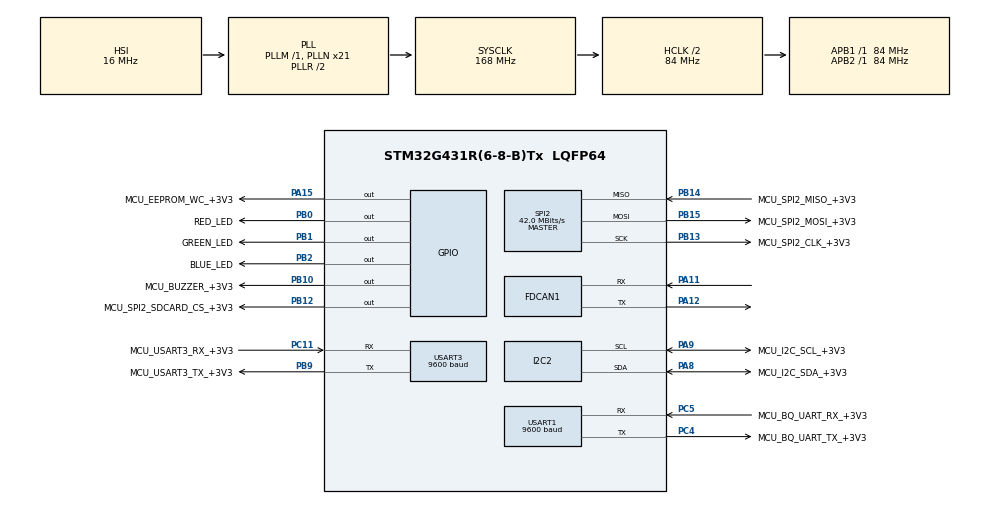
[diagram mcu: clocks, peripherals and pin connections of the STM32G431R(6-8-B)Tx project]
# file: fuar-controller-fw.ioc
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Dma.Request0=USART3_RX
Dma.Request1=USART3_TX
Dma.Request2=USART1_RX
Dma.USART1_RX.2.Direction=DMA_PERIPH_TO_MEMORY
Dma.USART1_RX.2.EventEnable=DISABLE
Dma.USART1_RX.2.Instance=DMA1_Channel3
Dma.USART1_RX.2.MemDataAlignment=DMA_MDATAALIGN_BYTE
Dma.USART1_RX.2.MemInc=DMA_MINC_ENABLE
Dma.USART1_RX.2.Mode=DMA_NORMAL
Dma.USART1_RX.2.PeriphDataAlignment=DMA_PDATAALIGN_BYTE
Dma.USART1_RX.2.PeriphInc=DMA_PINC_DISABLE
Dma.USART1_RX.2.Polarity=HAL_DMAMUX_REQ_GEN_RISING
Dma.USART1_RX.2.Priority=DMA_PRIORITY_LOW
Dma.USART1_RX.2.RequestNumber=1
Dma.USART1_RX.2.SignalID=NONE
Dma.USART1_RX.2.SyncEnable=DISABLE
Dma.USART1_RX.2.SyncPolarity=HAL_DMAMUX_SYNC_NO_EVENT
Dma.USART1_RX.2.SyncRequestNumber=1
Dma.USART1_RX.2.SyncSignalID=NONE
Dma.USART3_RX.0.Direction=DMA_PERIPH_TO_MEMORY
Dma.USART3_RX.0.EventEnable=DISABLE
Dma.USART3_RX.0.Instance=DMA1_Channel1
Dma.USART3_RX.0.MemDataAlignment=DMA_MDATAALIGN_BYTE
Dma.USART3_RX.0.MemInc=DMA_MINC_ENABLE
Dma.USART3_RX.0.Mode=DMA_NORMAL
Dma.USART3_RX.0.PeriphDataAlignment=DMA_PDATAALIGN_BYTE
Dma.USART3_RX.0.PeriphInc=DMA_PINC_DISABLE
Dma.USART3_RX.0.Polarity=HAL_DMAMUX_REQ_GEN_RISING
Dma.USART3_RX.0.Priority=DMA_PRIORITY_MEDIUM
Dma.USART3_RX.0.RequestNumber=1
Dma.USART3_RX.0.SignalID=NONE
Dma.USART3_RX.0.SyncEnable=DISABLE
Dma.USART3_RX.0.SyncPolarity=HAL_DMAMUX_SYNC_NO_EVENT
Dma.USART3_RX.0.SyncRequestNumber=1
Dma.USART3_RX.0.SyncSignalID=NONE
Dma.USART3_TX.1.Direction=DMA_MEMORY_TO_PERIPH
Dma.USART3_TX.1.EventEnable=DISABLE
Dma.USART3_TX.1.Instance=DMA1_Channel2
Dma.USART3_TX.1.MemDataAlignment=DMA_MDATAALIGN_BYTE
Dma.USART3_TX.1.MemInc=DMA_MINC_ENABLE
Dma.USART3_TX.1.Mode=DMA_NORMAL
Dma.USART3_TX.1.PeriphDataAlignment=DMA_PDATAALIGN_BYTE
Dma.USART3_TX.1.PeriphInc=DMA_PINC_DISABLE
Dma.USART3_TX.1.Polarity=HAL_DMAMUX_REQ_GEN_RISING
Dma.USART3_TX.1.Priority=DMA_PRIORITY_MEDIUM
Dma.USART3_TX.1.RequestNumber=1
Dma.USART3_TX.1.SignalID=NONE
Dma.USART3_TX.1.SyncEnable=DISABLE
Dma.USART3_TX.1.SyncPolarity=HAL_DMAMUX_SYNC_NO_EVENT
Dma.USART3_TX.1.SyncRequestNumber=1
Dma.USART3_TX.1.SyncSignalID=NONE
FDCAN1.CalculateBaudRateNominal=1000000
FDCAN1.CalculateTimeBitNominal=1000
FDCAN1.CalculateTimeQuantumNominal=142.85714285714286
FDCAN1.DataTimeSeg1=1
FDCAN1.NominalPrescaler=12
FDCAN1.NominalTimeSeg1=3
FDCAN1.NominalTimeSeg2=3
I2C2.Timing=0x20916F9D
Mcu.Family=STM32G4
Mcu.Name=STM32G431R(6-8-B)Tx
Mcu.Package=LQFP64
NVIC.DMA1_Channel1_IRQn=true\:0\:0\:false\:false\:true\:false\:true\:true
NVIC.DMA1_Channel2_IRQn=true\:0\:0\:false\:false\:true\:false\:true\:true
NVIC.DMA1_Channel3_IRQn=true\:0\:0\:false\:false\:true\:false\:true\:true
NVIC.FDCAN1_IT1_IRQn=true\:0\:0\:false\:false\:true\:true\:true\:true
NVIC.PriorityGroup=NVIC_PRIORITYGROUP_4
NVIC.TIM2_IRQn=true\:0\:0\:false\:false\:true\:true\:true\:true
NVIC.USART1_IRQn=true\:0\:0\:false\:false\:true\:true\:true\:true
NVIC.USART3_IRQn=true\:0\:0\:false\:false\:true\:true\:true\:true
PA11.Mode=FDCAN_Activate
PA11.Signal=FDCAN1_RX
PA12.Mode=FDCAN_Activate
PA12.Signal=FDCAN1_TX
PA13.GPIO_Label=MCU_SWDIO_+3V3
PA13.Mode=Serial_Wire
PA13.Signal=SYS_JTMS-SWDIO
PA14.GPIO_Label=MCU_SWCLK_+3V3
PA14.Mode=Serial_Wire
PA14.Signal=SYS_JTCK-SWCLK
PA15.GPIO_Label=MCU_EEPROM_WC_+3V3
PA15.Signal=GPIO_Output
PA8.GPIO_Label=MCU_I2C_SDA_+3V3
PA8.Mode=I2C
PA8.Signal=I2C2_SDA
PA9.GPIO_Label=MCU_I2C_SCL_+3V3
PA9.Mode=I2C
PA9.Signal=I2C2_SCL
PB0.GPIO_Label=RED_LED
PB0.Signal=GPIO_Output
PB1.GPIO_Label=GREEN_LED
PB1.Signal=GPIO_Output
PB10.GPIO_Label=MCU_BUZZER_+3V3
PB10.Signal=GPIO_Output
PB12.GPIO_Label=MCU_SPI2_SDCARD_CS_+3V3
PB12.Signal=GPIO_Output
PB13.GPIO_Label=MCU_SPI2_CLK_+3V3
PB13.Mode=Full_Duplex_Master
PB13.Signal=SPI2_SCK
PB14.GPIO_Label=MCU_SPI2_MISO_+3V3
PB14.Mode=Full_Duplex_Master
PB14.Signal=SPI2_MISO
PB15.GPIO_Label=MCU_SPI2_MOSI_+3V3
PB15.Mode=Full_Duplex_Master
PB15.Signal=SPI2_MOSI
PB2.GPIO_Label=BLUE_LED
PB2.Signal=GPIO_Output
PB9.GPIO_Label=MCU_USART3_TX_+3V3
PB9.Mode=Asynchronous
PB9.Signal=USART3_TX
PC11.GPIO_Label=MCU_USART3_RX_+3V3
PC11.Mode=Asynchronous
PC11.Signal=USART3_RX
PC14-OSC32_IN.Mode=LSE-External-Oscillator
PC14-OSC32_IN.Signal=RCC_OSC32_IN
PC15-OSC32_OUT.Mode=LSE-External-Oscillator
PC15-OSC32_OUT.Signal=RCC_OSC32_OUT
PC4.GPIO_Label=MCU_BQ_UART_TX_+3V3
PC4.Mode=Asynchronous
PC4.Signal=USART1_TX
PC5.GPIO_Label=MCU_BQ_UART_RX_+3V3
PC5.Mode=Asynchronous
PC5.Signal=USART1_RX
ProjectManager.HeapSize=0x200
ProjectManager.StackSize=0x400
ProjectManager.TargetToolchain=Makefile
RCC.ADC12Freq_Value=168000000
RCC.AHBCLKDivider=RCC_SYSCLK_DIV2
RCC.AHBFreq_Value=84000000
RCC.APB1Freq_Value=84000000
RCC.APB1TimFreq_Value=84000000
RCC.APB2Freq_Value=84000000
RCC.APB2TimFreq_Value=84000000
RCC.CortexFreq_Value=84000000
RCC.EXTERNAL_CLOCK_VALUE=12288000
RCC.HCLKFreq_Value=84000000
RCC.HSE_VALUE=8000000
RCC.HSI48_VALUE=48000000
RCC.HSI_VALUE=16000000
RCC.PLLN=21
RCC.SYSCLKFreq_VALUE=168000000
RCC.SYSCLKSource=RCC_SYSCLKSOURCE_PLLCLK
RCC.USBFreq_Value=168000000
RCC.VCOOutputFreq_Value=336000000
SPI2.BaudRatePrescaler=SPI_BAUDRATEPRESCALER_2
SPI2.CalculateBaudRate=42.0 MBits/s
SPI2.Direction=SPI_DIRECTION_2LINES
SPI2.Mode=SPI_MODE_MASTER
SPI2.VirtualType=VM_MASTER
TIM2.PeriodNoDither=1000
TIM2.Prescaler=42000
USART1.BaudRate=9600
USART1.VirtualMode-Asynchronous=VM_ASYNC
USART3.BaudRate=9600
USART3.VirtualMode-Asynchronous=VM_ASYNC
VP_SYS_VS_DBSignals.Mode=DisableDeadBatterySignals
VP_TIM2_VS_ClockSourceINT.Mode=Internal
board=custom

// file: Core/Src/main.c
/* USER CODE BEGIN Header */
/**
  ******************************************************************************
  * @file           : main.c
  * @brief          : Main program body
  ******************************************************************************
  * @attention
  *
  * Copyright (c) 2024 STMicroelectronics.
  * All rights reserved.
  *
  * This software is licensed under terms that can be found in the LICENSE file
  * in the root directory of this software component.
  * If no LICENSE file comes with this software, it is provided AS-IS.
  *
  ******************************************************************************
  */
/* USER CODE END Header */
#include "main.h"

/* USER CODE BEGIN Includes */
#include "process.h"
#include "canbus_com.h"
/* USER CODE END Includes */

FDCAN_HandleTypeDef hfdcan1;

I2C_HandleTypeDef hi2c2;

SPI_HandleTypeDef hspi2;

TIM_HandleTypeDef htim2;

UART_HandleTypeDef huart1;
UART_HandleTypeDef huart3;
DMA_HandleTypeDef hdma_usart1_rx;
DMA_HandleTypeDef hdma_usart3_rx;
DMA_HandleTypeDef hdma_usart3_tx;

void SystemClock_Config(void);
static void MX_GPIO_Init(void);
static void MX_DMA_Init(void);
static void MX_FDCAN1_Init(void);
static void MX_I2C2_Init(void);
static void MX_SPI2_Init(void);
static void MX_USART1_UART_Init(void);
static void MX_USART3_UART_Init(void);
static void MX_TIM2_Init(void);

int main(void)
{

  /* MCU Configuration--------------------------------------------------------*/

  /* Reset of all peripherals, Initializes the Flash interface and the Systick. */
  HAL_Init();

  /* Configure the system clock */
  SystemClock_Config();

  /* Initialize all configured peripherals */
  MX_GPIO_Init();
  MX_DMA_Init();
  MX_FDCAN1_Init();
  MX_I2C2_Init();
  MX_SPI2_Init();
  MX_USART1_UART_Init();
  MX_USART3_UART_Init();
  MX_TIM2_Init();
  /* USER CODE BEGIN 2 */
  serial_message("code worked");
  HAL_GPIO_WritePin(RED_LED_GPIO_Port,RED_LED_Pin,GPIO_PIN_SET);
  HAL_Delay(1000);
  HAL_GPIO_WritePin(RED_LED_GPIO_Port,RED_LED_Pin,GPIO_PIN_RESET);

  UartDmaInit();
  delay_init();
  // process_INIT();
  /* USER CODE END 2 */

  /* Infinite loop */
  while (1)
  {

    /* USER CODE BEGIN 3 */
    Process_Nextion();
    Prosess_PacketComminication();
  }
  /* USER CODE END 3 */
}

void SystemClock_Config(void)
{
  RCC_OscInitTypeDef RCC_OscInitStruct = {0};
  RCC_ClkInitTypeDef RCC_ClkInitStruct = {0};

  /** Configure the main internal regulator output voltage
  */
  HAL_PWREx_ControlVoltageScaling(PWR_REGULATOR_VOLTAGE_SCALE1);

  /** Initializes the RCC Oscillators according to the specified parameters
  * in the RCC_OscInitTypeDef structure.
  */
  RCC_OscInitStruct.OscillatorType = RCC_OSCILLATORTYPE_HSI;
  RCC_OscInitStruct.HSIState = RCC_HSI_ON;
  RCC_OscInitStruct.HSICalibrationValue = RCC_HSICALIBRATION_DEFAULT;
  RCC_OscInitStruct.PLL.PLLState = RCC_PLL_ON;
  RCC_OscInitStruct.PLL.PLLSource = RCC_PLLSOURCE_HSI;
  RCC_OscInitStruct.PLL.PLLM = RCC_PLLM_DIV1;
  RCC_OscInitStruct.PLL.PLLN = 21;
  RCC_OscInitStruct.PLL.PLLP = RCC_PLLP_DIV2;
  RCC_OscInitStruct.PLL.PLLQ = RCC_PLLQ_DIV2;
  RCC_OscInitStruct.PLL.PLLR = RCC_PLLR_DIV2;
  if (HAL_RCC_OscConfig(&RCC_OscInitStruct) != HAL_OK)
  {
    Error_Handler();
  }

  /** Initializes the CPU, AHB and APB buses clocks
  */
  RCC_ClkInitStruct.ClockType = RCC_CLOCKTYPE_HCLK|RCC_CLOCKTYPE_SYSCLK
                              |RCC_CLOCKTYPE_PCLK1|RCC_CLOCKTYPE_PCLK2;
  RCC_ClkInitStruct.SYSCLKSource = RCC_SYSCLKSOURCE_PLLCLK;
  RCC_ClkInitStruct.AHBCLKDivider = RCC_SYSCLK_DIV2;
  RCC_ClkInitStruct.APB1CLKDivider = RCC_HCLK_DIV1;
  RCC_ClkInitStruct.APB2CLKDivider = RCC_HCLK_DIV1;

  if (HAL_RCC_ClockConfig(&RCC_ClkInitStruct, FLASH_LATENCY_2) != HAL_OK)
  {
    Error_Handler();
  }
}

static void MX_FDCAN1_Init(void)
{

  hfdcan1.Instance = FDCAN1;
  hfdcan1.Init.ClockDivider = FDCAN_CLOCK_DIV1;
  hfdcan1.Init.FrameFormat = FDCAN_FRAME_CLASSIC;
  hfdcan1.Init.Mode = FDCAN_MODE_NORMAL;
  hfdcan1.Init.AutoRetransmission = DISABLE;
  hfdcan1.Init.TransmitPause = DISABLE;
  hfdcan1.Init.ProtocolException = DISABLE;
  hfdcan1.Init.NominalPrescaler = 12;
  hfdcan1.Init.NominalSyncJumpWidth = 1;
  hfdcan1.Init.NominalTimeSeg1 = 3;
  hfdcan1.Init.NominalTimeSeg2 = 3;
  hfdcan1.Init.DataPrescaler = 1;
  hfdcan1.Init.DataSyncJumpWidth = 1;
  hfdcan1.Init.DataTimeSeg1 = 1;
  hfdcan1.Init.DataTimeSeg2 = 1;
  hfdcan1.Init.StdFiltersNbr = 0;
  hfdcan1.Init.ExtFiltersNbr = 0;
  hfdcan1.Init.TxFifoQueueMode = FDCAN_TX_FIFO_OPERATION;
  if (HAL_FDCAN_Init(&hfdcan1) != HAL_OK)
  {
    Error_Handler();
  }

}

static void MX_I2C2_Init(void)
{

  hi2c2.Instance = I2C2;
  hi2c2.Init.Timing = 0x20916F9D;
  hi2c2.Init.OwnAddress1 = 0;
  hi2c2.Init.AddressingMode = I2C_ADDRESSINGMODE_7BIT;
  hi2c2.Init.DualAddressMode = I2C_DUALADDRESS_DISABLE;
  hi2c2.Init.OwnAddress2 = 0;
  hi2c2.Init.OwnAddress2Masks = I2C_OA2_NOMASK;
  hi2c2.Init.GeneralCallMode = I2C_GENERALCALL_DISABLE;
  hi2c2.Init.NoStretchMode = I2C_NOSTRETCH_DISABLE;
  if (HAL_I2C_Init(&hi2c2) != HAL_OK)
  {
    Error_Handler();
  }

  /** Configure Analogue filter
  */
  if (HAL_I2CEx_ConfigAnalogFilter(&hi2c2, I2C_ANALOGFILTER_ENABLE) != HAL_OK)
  {
    Error_Handler();
  }

  /** Configure Digital filter
  */
  if (HAL_I2CEx_ConfigDigitalFilter(&hi2c2, 0) != HAL_OK)
  {
    Error_Handler();
  }

}

static void MX_SPI2_Init(void)
{

  /* SPI2 parameter configuration*/
  hspi2.Instance = SPI2;
  hspi2.Init.Mode = SPI_MODE_MASTER;
  hspi2.Init.Direction = SPI_DIRECTION_2LINES;
  hspi2.Init.DataSize = SPI_DATASIZE_4BIT;
  hspi2.Init.CLKPolarity = SPI_POLARITY_LOW;
  hspi2.Init.CLKPhase = SPI_PHASE_1EDGE;
  hspi2.Init.NSS = SPI_NSS_SOFT;
  hspi2.Init.BaudRatePrescaler = SPI_BAUDRATEPRESCALER_2;
  hspi2.Init.FirstBit = SPI_FIRSTBIT_MSB;
  hspi2.Init.TIMode = SPI_TIMODE_DISABLE;
  hspi2.Init.CRCCalculation = SPI_CRCCALCULATION_DISABLE;
  hspi2.Init.CRCPolynomial = 7;
  hspi2.Init.CRCLength = SPI_CRC_LENGTH_DATASIZE;
  hspi2.Init.NSSPMode = SPI_NSS_PULSE_ENABLE;
  if (HAL_SPI_Init(&hspi2) != HAL_OK)
  {
    Error_Handler();
  }

}

static void MX_TIM2_Init(void)
{

  TIM_ClockConfigTypeDef sClockSourceConfig = {0};
  TIM_MasterConfigTypeDef sMasterConfig = {0};

  htim2.Instance = TIM2;
  htim2.Init.Prescaler = 42000;
  htim2.Init.CounterMode = TIM_COUNTERMODE_UP;
  htim2.Init.Period = 1000;
  htim2.Init.ClockDivision = TIM_CLOCKDIVISION_DIV1;
  htim2.Init.AutoReloadPreload = TIM_AUTORELOAD_PRELOAD_DISABLE;
  if (HAL_TIM_Base_Init(&htim2) != HAL_OK)
  {
    Error_Handler();
  }
  sClockSourceConfig.ClockSource = TIM_CLOCKSOURCE_INTERNAL;
  if (HAL_TIM_ConfigClockSource(&htim2, &sClockSourceConfig) != HAL_OK)
  {
    Error_Handler();
  }
  sMasterConfig.MasterOutputTrigger = TIM_TRGO_RESET;
  sMasterConfig.MasterSlaveMode = TIM_MASTERSLAVEMODE_DISABLE;
  if (HAL_TIMEx_MasterConfigSynchronization(&htim2, &sMasterConfig) != HAL_OK)
  {
    Error_Handler();
  }

}

static void MX_USART1_UART_Init(void)
{

  huart1.Instance = USART1;
  huart1.Init.BaudRate = 9600;
  huart1.Init.WordLength = UART_WORDLENGTH_8B;
  huart1.Init.StopBits = UART_STOPBITS_1;
  huart1.Init.Parity = UART_PARITY_NONE;
  huart1.Init.Mode = UART_MODE_TX_RX;
  huart1.Init.HwFlowCtl = UART_HWCONTROL_NONE;
  huart1.Init.OverSampling = UART_OVERSAMPLING_16;
  huart1.Init.OneBitSampling = UART_ONE_BIT_SAMPLE_DISABLE;
  huart1.Init.ClockPrescaler = UART_PRESCALER_DIV1;
  huart1.AdvancedInit.AdvFeatureInit = UART_ADVFEATURE_NO_INIT;
  if (HAL_UART_Init(&huart1) != HAL_OK)
  {
    Error_Handler();
  }
  if (HAL_UARTEx_SetTxFifoThreshold(&huart1, UART_TXFIFO_THRESHOLD_1_8) != HAL_OK)
  {
    Error_Handler();
  }
  if (HAL_UARTEx_SetRxFifoThreshold(&huart1, UART_RXFIFO_THRESHOLD_1_8) != HAL_OK)
  {
    Error_Handler();
  }
  if (HAL_UARTEx_DisableFifoMode(&huart1) != HAL_OK)
  {
    Error_Handler();
  }

}

static void MX_USART3_UART_Init(void)
{

  huart3.Instance = USART3;
  huart3.Init.BaudRate = 9600;
  huart3.Init.WordLength = UART_WORDLENGTH_8B;
  huart3.Init.StopBits = UART_STOPBITS_1;
  huart3.Init.Parity = UART_PARITY_NONE;
  huart3.Init.Mode = UART_MODE_TX_RX;
  huart3.Init.HwFlowCtl = UART_HWCONTROL_NONE;
  huart3.Init.OverSampling = UART_OVERSAMPLING_16;
  huart3.Init.OneBitSampling = UART_ONE_BIT_SAMPLE_DISABLE;
  huart3.Init.ClockPrescaler = UART_PRESCALER_DIV1;
  huart3.AdvancedInit.AdvFeatureInit = UART_ADVFEATURE_NO_INIT;
  if (HAL_UART_Init(&huart3) != HAL_OK)
  {
    Error_Handler();
  }
  if (HAL_UARTEx_SetTxFifoThreshold(&huart3, UART_TXFIFO_THRESHOLD_1_8) != HAL_OK)
  {
    Error_Handler();
  }
  if (HAL_UARTEx_SetRxFifoThreshold(&huart3, UART_RXFIFO_THRESHOLD_1_8) != HAL_OK)
  {
    Error_Handler();
  }
  if (HAL_UARTEx_DisableFifoMode(&huart3) != HAL_OK)
  {
    Error_Handler();
  }

}

static void MX_DMA_Init(void)
{

  /* DMA controller clock enable */
  __HAL_RCC_DMAMUX1_CLK_ENABLE();
  __HAL_RCC_DMA1_CLK_ENABLE();

  /* DMA interrupt init */
  /* DMA1_Channel1_IRQn interrupt configuration */
  HAL_NVIC_SetPriority(DMA1_Channel1_IRQn, 0, 0);
  HAL_NVIC_EnableIRQ(DMA1_Channel1_IRQn);
  /* DMA1_Channel2_IRQn interrupt configuration */
  HAL_NVIC_SetPriority(DMA1_Channel2_IRQn, 0, 0);
  HAL_NVIC_EnableIRQ(DMA1_Channel2_IRQn);
  /* DMA1_Channel3_IRQn interrupt configuration */
  HAL_NVIC_SetPriority(DMA1_Channel3_IRQn, 0, 0);
  HAL_NVIC_EnableIRQ(DMA1_Channel3_IRQn);

}

static void MX_GPIO_Init(void)
{
  GPIO_InitTypeDef GPIO_InitStruct = {0};

  /* GPIO Ports Clock Enable */
  __HAL_RCC_GPIOC_CLK_ENABLE();
  __HAL_RCC_GPIOB_CLK_ENABLE();
  __HAL_RCC_GPIOA_CLK_ENABLE();

  /*Configure GPIO pin Output Level */
  HAL_GPIO_WritePin(GPIOB, RED_LED_Pin|GREEN_LED_Pin|BLUE_LED_Pin|MCU_BUZZER__3V3_Pin
                          |MCU_SPI2_SDCARD_CS__3V3_Pin, GPIO_PIN_RESET);

  /*Configure GPIO pin Output Level */
  HAL_GPIO_WritePin(MCU_EEPROM_WC__3V3_GPIO_Port, MCU_EEPROM_WC__3V3_Pin, GPIO_PIN_RESET);

  /*Configure GPIO pins : RED_LED_Pin GREEN_LED_Pin BLUE_LED_Pin MCU_BUZZER__3V3_Pin
                           MCU_SPI2_SDCARD_CS__3V3_Pin */
  GPIO_InitStruct.Pin = RED_LED_Pin|GREEN_LED_Pin|BLUE_LED_Pin|MCU_BUZZER__3V3_Pin
                          |MCU_SPI2_SDCARD_CS__3V3_Pin;
  GPIO_InitStruct.Mode = GPIO_MODE_OUTPUT_PP;
  GPIO_InitStruct.Pull = GPIO_NOPULL;
  GPIO_InitStruct.Speed = GPIO_SPEED_FREQ_LOW;
  HAL_GPIO_Init(GPIOB, &GPIO_InitStruct);

  /*Configure GPIO pin : MCU_EEPROM_WC__3V3_Pin */
  GPIO_InitStruct.Pin = MCU_EEPROM_WC__3V3_Pin;
  GPIO_InitStruct.Mode = GPIO_MODE_OUTPUT_PP;
  GPIO_InitStruct.Pull = GPIO_NOPULL;
  GPIO_InitStruct.Speed = GPIO_SPEED_FREQ_LOW;
  HAL_GPIO_Init(MCU_EEPROM_WC__3V3_GPIO_Port, &GPIO_InitStruct);

}

/* USER CODE BEGIN 4 */
void serial_message(const char *serial_data, ...)
{
  static const size_t _buffer_size = 400;
  char uartbuffer[_buffer_size];
  va_list arg;
  va_start(arg, serial_data);
  uint16_t len = (uint16_t)vsnprintf(uartbuffer, _buffer_size, serial_data, arg);
  va_end(arg);
  HAL_UART_Transmit(SERIAL_UART_ADDR, (uint8_t *)uartbuffer, len, 50);
  memset(uartbuffer, 0x00, _buffer_size); // reset buffer
}

I2C_HandleTypeDef* get_pointer_hi2c2(void)
{
    return &hi2c2;
}

UART_HandleTypeDef* get_pointer_huart1(void)
{
  return &huart1;
}

/* USER CODE END 4 */

void Error_Handler(void)
{
  __disable_irq();
  while (1)
  {
  }
}
